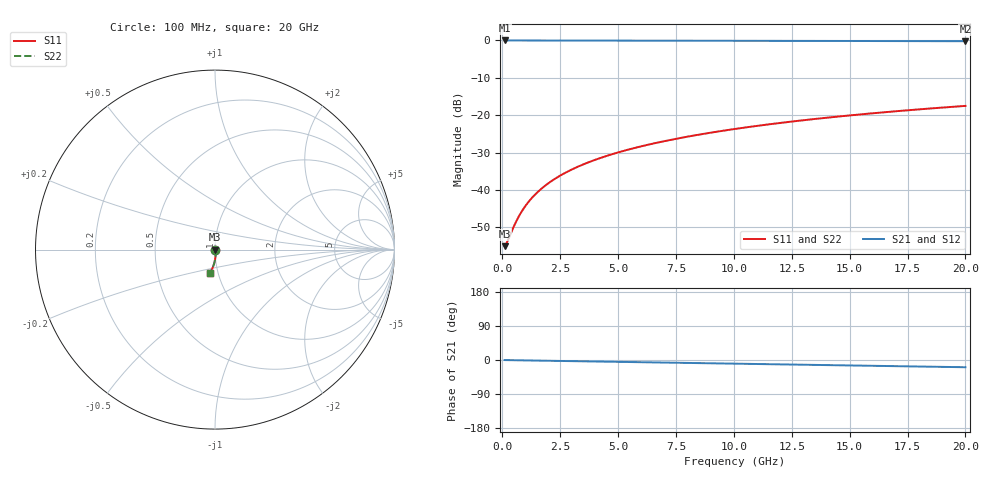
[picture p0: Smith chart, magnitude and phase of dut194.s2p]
! Touchstone file exported from HFSS 2026.1.0
!  File:  C:/ffzhzh/LocalFiles/Ansys_Project_Files/temp_train_BSMRDL_194_1782987591_42984.aedt
!  Generated:  06:21:21 PM Jul  2, 2026
!  Design:  BSMRDL
!  Project:  temp_train_BSMRDL_194_1782987591_42984
! Variables:
!  h_bsmrdl = 2.8um
!  h_ox = 20um
!  h_rdl = 5um
!  h_sub = 80um
!  h_tmrdl = 5um
!  h_tsv = 80um
!  h_via = 3um
!  l_bsmrdl = 292.55um
!  l_sub = 692.55um
!  l_tmrdl = 200um
!  m_sub = 200um
!  pitch = 27.46um
!  r_tsv = 6um
!  s_tmrdl = 10um
!  w_bsmrdl = 26.32um
!  w_sub = 500um
!  w_tmrdl = 12um
!  x_tsv_center1 = 206um
!  x_tsv_center2 = 524.87um
!  x_tsv_center3 = 736.87um
!  x_tsv_center4 = 1055.74um
!  x_tsv_center5 = 1267.74um
!  x_tsv_center6 = 1586.61um
# GHz S MA R 50.000000
! Terminal data exported
! Port[1] = BSM_RDL1_1_T1
! Port[2] = BSM_RDL1_1_T2
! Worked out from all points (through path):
!   200 points, 100 MHz to 20 GHz, reference 50 ohm
!   highest |S21| = -0.02 dB at 100 MHz (marker M1); lowest = -0.2 dB at 20 GHz (marker M2)
!   group delay of S21, straight-line fit = 2.64 ps
!   lowest |S11| = -55.0 dB at 100 MHz (marker M3), VSWR 1.00, Z = 50.2 - j0.0187 ohm
!   |S11| at or under -10 dB: start of sweep to end of sweep
!   |S22| runs from -55.0 to -17.5 dB; largest |S21 - S12| = 2.1e-14
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0.1  0.001772 -6.0  0.9982 -0.1  0.9982 -0.1  0.001772 -6.0
! Gamma 0 0 0 0
! Port Impedance 50 0 50 0
0.2  0.001996 -12.6  0.9981 -0.2  0.9981 -0.2  0.001996 -12.6
0.5  0.003258 -32.2  0.9972 -0.6  0.9972 -0.6  0.003258 -32.2
0.6  0.003789 -37.7  0.997 -0.7  0.997 -0.7  0.00379 -37.6
0.8  0.004927 -46.5  0.9965 -0.9  0.9965 -0.9  0.004927 -46.5
0.9  0.005518 -50.1  0.9963 -1.0  0.9963 -1.0  0.005519 -50.1
1.1  0.006728 -55.9  0.9961 -1.2  0.9961 -1.2  0.006729 -55.8
1.4  0.008581 -62.1  0.9957 -1.5  0.9957 -1.5  0.008582 -62.1
1.8  0.01109 -67.8  0.9954 -1.8  0.9954 -1.8  0.01109 -67.8
2.3  0.01427 -72.5  0.995 -2.3  0.995 -2.3  0.01427 -72.5
2.9  0.01812 -76.3  0.9947 -2.9  0.9947 -2.9  0.01812 -76.3
3.5  0.02199 -79.0  0.9943 -3.5  0.9943 -3.5  0.02199 -79.0
4.2  0.02654 -81.3  0.9938 -4.2  0.9938 -4.2  0.02654 -81.3
5  0.03176 -83.4  0.9932 -5.0  0.9932 -5.0  0.03176 -83.4
5.9  0.03768 -85.3  0.9924 -5.8  0.9924 -5.8  0.03768 -85.3
6.8  0.04364 -86.9  0.9916 -6.7  0.9916 -6.7  0.04364 -86.9
8.3  0.05366 -89.1  0.9901 -8.1  0.9901 -8.1  0.05366 -89.1
10.1  0.06582 -91.4  0.9882 -9.8  0.9882 -9.8  0.06582 -91.4
11.7  0.07671 -93.4  0.9863 -11.4  0.9863 -11.4  0.0767 -93.3
13.4  0.08832 -95.3  0.9842 -13.0  0.9842 -13.0  0.08832 -95.3
16.7  0.1108 -98.9  0.9798 -16.0  0.9798 -16.0  0.1108 -98.9
20  0.1331 -102.4  0.9751 -19.1  0.9751 -19.1  0.1331 -102.4
